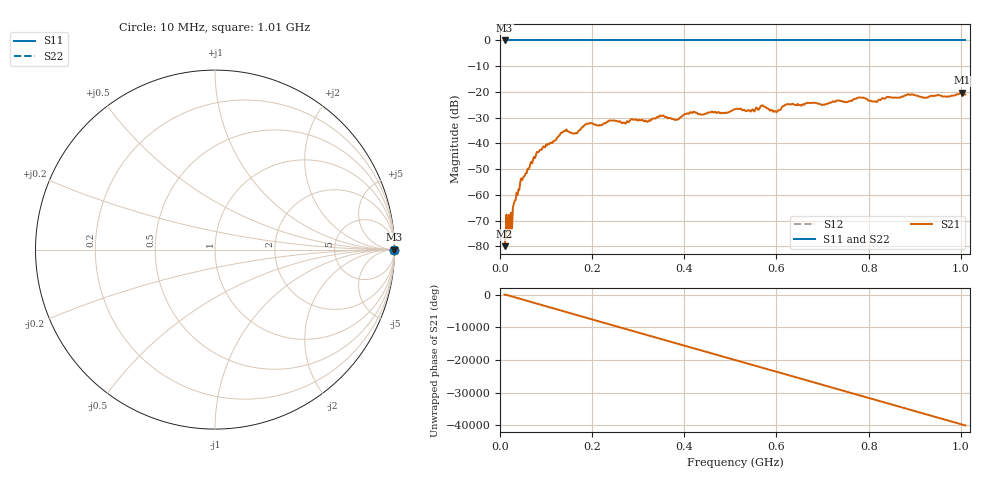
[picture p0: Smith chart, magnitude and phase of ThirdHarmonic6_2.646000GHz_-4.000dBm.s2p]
! 8/17/2025 6:00:25 AM
! C:\ANRITSUVNA\TEMP\TEMP.S2P
! CHANNEL.1
! TR.MEASUREMENT
! RAW.DATA
! RF.CORRECTION.OFF
! AVERAGING.OFF
! IF.BANDWIDTH: 5KHZ
! SWEEPTYPE:  FREQ.SWEEP(Linear)
! Reference Plane Port Info
! PORT:  PORT1  PORT2
! DISTANCE:  0  m  0  m
! TIME:  0  s  0  s
! PHASE.OFFSET:  0  deg.  0  deg.
! LOSS:  0  dB  0  dB
! REF.LOSS:  0  dB  0  dB
! REF.FREQ:  0  Hz  0  Hz
! Power Info
! POWER:  -20  dBm  -20  dBm
! EFF.POWER:  -20  dBm  -20  dBm
! SOURCE.ATTEN:  0  dB  0  dB
! TEST.ATTEN:  0  dB  0  dB
# GHZ S RI R 50.0
! FREQ.GHZ  S11RE  S11IM  S21RE  S21IM  S12RE  S12IM  S22RE  S22IM
!; PortSelection: Port_12
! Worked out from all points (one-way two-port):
!   501 points, 10 MHz to 1.01 GHz, reference 50 ohm
!   highest |S21| = -20.32 dB at 1.002 GHz (marker M1); lowest = -79.9 dB at 10 MHz (marker M2)
!   lowest |S11| = 0.0 dB at 10 MHz (marker M3)
!   |S11| at or under -10 dB: nowhere
!   |S22| runs from 0.0 to 0.0 dB; largest |S21 - S12| = 1.1
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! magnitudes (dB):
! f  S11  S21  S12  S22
! 10 MHz  0.0  -79.9  0.0  0.0
! 16 MHz  0.0  -74.4  0.0  0.0
! 26 MHz  0.0  -73.1  0.0  0.0
! 32 MHz  0.0  -62.3  0.0  0.0
! 48 MHz  0.0  -54.3  0.0  0.0
! 78 MHz  0.0  -44.5  0.0  0.0
! 136 MHz  0.0  -35.7  0.0  0.0
! 164 MHz  0.0  -36.0  0.0  0.0
! 178 MHz  0.0  -33.7  0.0  0.0
! 344 MHz  0.0  -29.7  0.0  0.0
! 384 MHz  0.0  -30.7  0.0  0.0
! 416 MHz  0.0  -28.1  0.0  0.0
! 510 MHz  0.0  -26.7  0.0  0.0
! 570 MHz  0.0  -25.2  0.0  0.0
! 598 MHz  0.0  -27.6  0.0  0.0
! 622 MHz  0.0  -24.8  0.0  0.0
! 678 MHz  0.0  -24.2  0.0  0.0
! 782 MHz  0.0  -22.2  0.0  0.0
! 814 MHz  0.0  -23.6  0.0  0.0
! 844 MHz  0.0  -22.0  0.0  0.0
! 1.002 GHz  0.0  -20.3  0.0  0.0
! 1.01 GHz  0.0  -21.0  0.0  0.0
